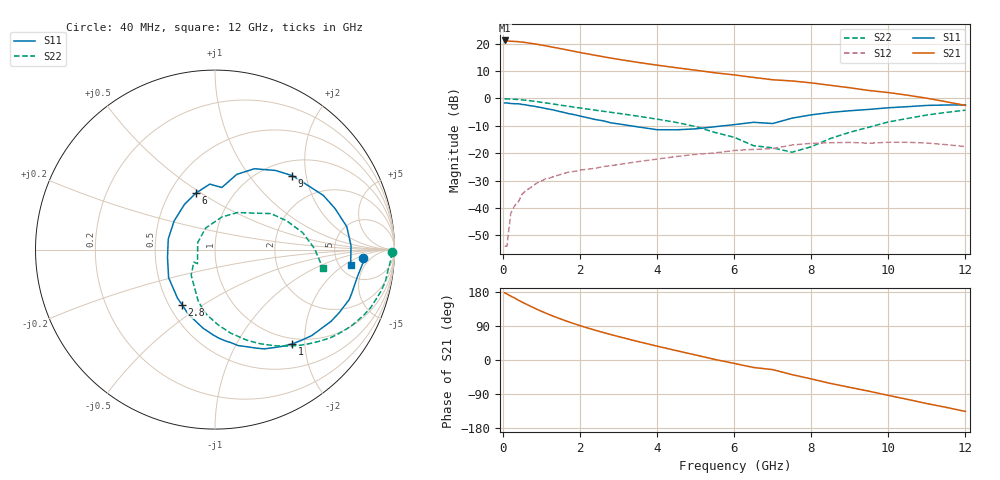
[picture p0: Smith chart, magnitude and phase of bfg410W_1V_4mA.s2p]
! Filename: 14bfg410.001
! BFG410W Field B1
! V1=8.563E-001V,V2=1.000E+000V, I1=6.198E-005A, I2=4.000E-003A
# GHz  S  MA  R 50
!  S11  S21  S12  S22
!Freq(GHz)  Mag  Ang  Mag  Ang  Mag  Ang  Mag  Ang
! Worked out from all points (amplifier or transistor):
!   44 points, 40 MHz to 12 GHz, reference 50 ohm
!   highest |S21| = 21.2 dB at 40 MHz (marker M1)
!   |S21| within 3 dB of that: start of sweep to 1.492 GHz
!   unconditionally stable (mu >= 1): 2.719 GHz to end of sweep
!   at 700 MHz: K = 0.31, MSG = 26.5 dB, |S12| = -32.8 dB
!   at 2.4 GHz: K = 0.92, MSG = 20.6 dB, |S12| = -25.5 dB
!   at 12 GHz: K = 1.66, MAG = 2.8 dB, |S12| = -17.6 dB
!   S11 on the Smith chart (normalised r, x): 40 MHz: 10, -3; 1 GHz: 0.90, -1.75; 2.8 GHz: 0.58, -0.41; 6 GHz: 0.67, +0.48; 9 GHz: 1.30, +1.67; 12 GHz: 6.29, -2.58
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0.04  0.826 -3.1  11.45 177.5  0.002 66.0  0.985 -0.9
0.1  0.827 -5.3  11.2 174.4  0.002 86.2  0.982 -3.2
0.2  0.808 -10.6  11.07 168.5  0.008 79.7  0.97 -7.1
0.3  0.8 -17.4  10.99 163.6  0.011 80.7  0.966 -10.4
0.5  0.776 -26.9  10.69 152.4  0.018 72.1  0.939 -17.1
0.7  0.736 -37.0  10.2 142.4  0.023 65.8  0.907 -23.5
1  0.679 -50.7  9.419 128.4  0.031 57.9  0.849 -32.0
1.2  0.635 -59.4  8.879 119.8  0.035 54.7  0.811 -37.1
1.5  0.57 -71.7  8.086 108.1  0.041 48.6  0.752 -43.8
1.8  0.513 -83.3  7.349 97.2  0.046 43.9  0.7 -49.8
2.2  0.443 -98.6  6.493 84.4  0.051 39.3  0.638 -57.3
2.8  0.358 -120.8  5.454 67.1  0.059 33.8  0.557 -67.5
3.5  0.302 -148.9  4.554 48.8  0.07 27.8  0.474 -79.3
4.5  0.267 167.3  3.635 24.7  0.087 16.9  0.364 -97.4
5.5  0.304 124.1  2.938 1.4  0.101 2.9  0.239 -118.7
6  0.332 108.7  2.69 -9.0  0.112 -2.6  0.195 -132.9
6.5  0.366 94.6  2.419 -19.7  0.117 -9.9  0.137 -149.3
7.5  0.436 73.9  2.085 -38.6  0.141 -19.1  0.104 158.0
8.5  0.555 52.6  1.734 -61.9  0.155 -41.0  0.186 78.0
9  0.596 43.8  1.566 -72.2  0.157 -50.6  0.241 58.9
10.5  0.707 18.9  1.145 -103.9  0.158 -79.1  0.431 21.8
12  0.761 -6.5  0.746 -135.6  0.132 -115.9  0.61 -9.9
